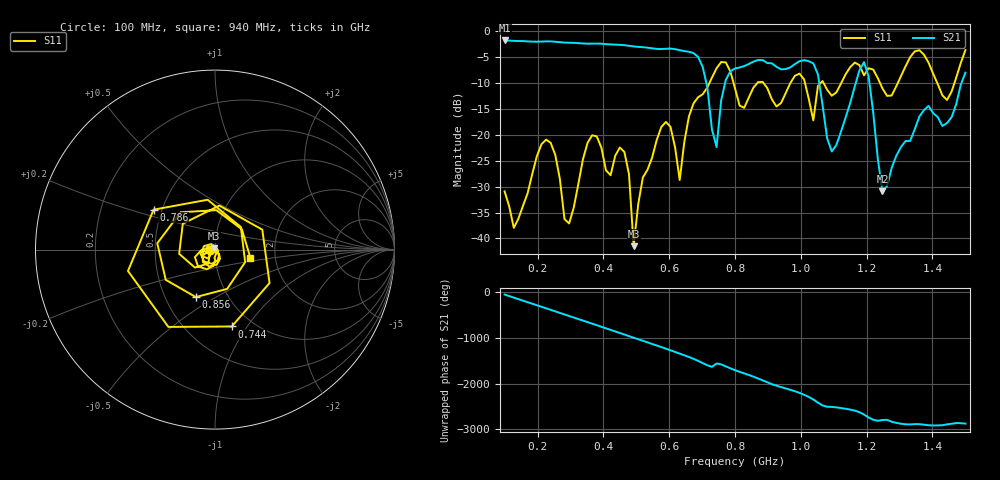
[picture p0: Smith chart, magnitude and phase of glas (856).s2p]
! NanoVNA-App
! Date: 2025-09-25 16:02:08
! Start: 100MHz Stop: 1,5GHz Points: 101
! S-Parameter data: F S11 S21 S12 S22
# Hz S RI R 50
!  Frequency  S11_Real  S11_Imag  S21_Real  S21_Imag  S12_Real  S12_Imag  S22_Real  S22_Imag
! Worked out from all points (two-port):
!   101 points, 100 MHz to 1.5 GHz, reference 50 ohm
!   highest |S21| = -1.80 dB at 100 MHz (marker M1); lowest = -30.9 dB at 1.248 GHz (marker M2)
!   |S21| within 3 dB of the highest: start of sweep to 684.5 MHz
!   lowest |S11| = -41.5 dB at 492 MHz (marker M3), VSWR 1.02, Z = 49.5 + j0.652 ohm
!   |S11| at or under -10 dB: start of sweep to 722.4 MHz; 795.5 MHz to 867.9 MHz (72.37 MHz wide, 8.7 % of centre); 886.4 MHz to 968.3 MHz (81.91 MHz wide, 8.83 % of centre) (the widest 3 of 7)
!   S12 and S22 are empty: the file has one direction only
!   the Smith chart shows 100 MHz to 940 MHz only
!   S11 on the Smith chart (normalised r, x): 100 MHz: 0.94, -0.01; 744 MHz: 0.80, -0.85; 786 MHz: 0.45, +0.24; 856 MHz: 0.71, -0.41; 940 MHz: 1.48, -0.14
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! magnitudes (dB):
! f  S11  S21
! 100 MHz  -30.9  -1.8
! 128 MHz  -38.0  -1.9
! 226 MHz  -20.9  -2.0
! 296 MHz  -37.1  -2.2
! 338 MHz  -24.7  -2.4
! 464 MHz  -23.3  -2.7
! 492 MHz  -41.5  -3.0
! 576 MHz  -18.5  -3.5
! 632 MHz  -28.7  -3.7
! 702 MHz  -12.2  -6.9
! 744 MHz  -7.2  -22.4
! 786 MHz  -7.8  -7.7
! 800 MHz  -11.0  -7.2
! 856 MHz  -10.9  -5.9
! 940 MHz  -13.9  -7.4
! 996 MHz  -8.2  -5.8
! 1.038 GHz  -17.2  -6.2
! 1.094 GHz  -12.5  -23.2
! 1.192 GHz  -8.5  -6.0
! 1.248 GHz  -11.1  -30.9
! 1.276 GHz  -12.4  -26.4
! 1.5 GHz  -3.7  -8.0
